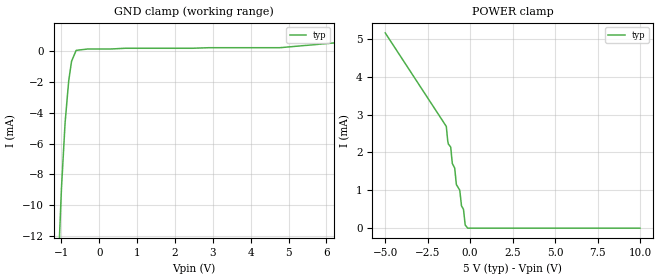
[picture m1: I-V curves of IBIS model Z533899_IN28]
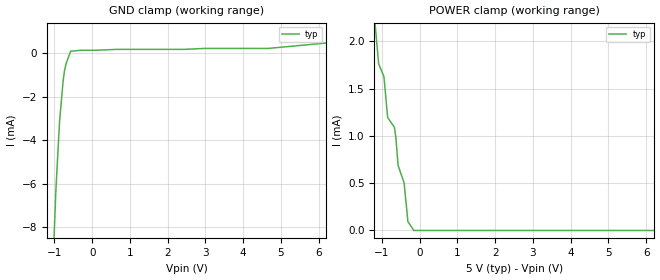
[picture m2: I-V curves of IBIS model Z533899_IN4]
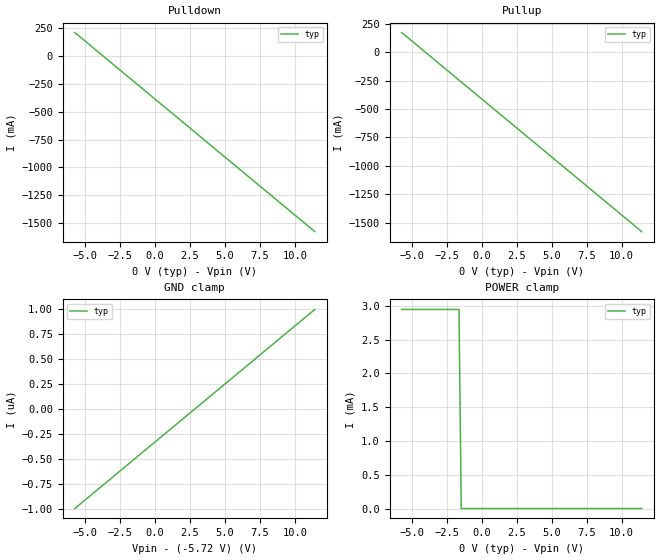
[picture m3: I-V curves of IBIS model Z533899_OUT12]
| YOU ARE ONLY AUTHORIZED TO USE THIS SOFTWARE
| ACCORDING TO LICENSOR'S LICENSE RESTRICTIONS.
[IBIS Ver] 3.1
[File Name] mc10e163fn_pecl.ibs
[File Rev] 2.0
[Source] Measured and created by ICX Technology
[Date] Friday 7/14/00 9:07:49 AM
[Copyright]
| (C) COPYRIGHT 1993-2000
| MENTOR GRAPHICS CORPORATION
| ICX STANDARD LIBRARY, ICX PROJECT MODELING,
| ICX CUSTOM MODELING, ICX VENDOR MODEL
| ALL RIGHTS RESERVED.
| THE FOLLOWING ARE TRADEMARKS OR SERVICE MARKS OF
| MENTOR GRAPHICS CORPORATION:ICX (R), ICX STANDARD
| LIBRARY(R), ICX PROJECT MODELING(R), ICX CUSTOM
| MODELING(R), qualityIBIS(TM), MODELVIEWER(TM),
| AND MODELEDITOR(TM)
| ALL COPIES OF SOFTWARE, INCLUDING BUT NOT LIMITED TO
| ANY MODIFICATIONS, ENHANCEMENTS OR DERIVATIVE WORKS,
| MUST CONTAIN ALL MENTOR GRAPHICS CORPORATION'S
| NOTICES AND LEGENDS, INCLUDING THOSE EMBEDDED IN
| SOFTWARE AND THOSE AFFIXED TO SOFTWARE MEDIUM
| AND CONTAINER, AS RECEIVED FROM MENTOR GRAPHICS
| CORPORATION.
|  ZAP Model Builder 2.7
[Component] MC10E163FN_PECL
[Manufacturer] OnSemiconductor
[Package]
| variable   typ   min   max
R_pkg  .083ohms NA NA
L_pkg  4.299nH NA NA
C_pkg  1.045pF NA NA
[Pin] signal_name  model_name  R_pin  L_pin C_pin
1 VEE GND .08 3.94n .925p
2 SEL1 Z533899_IN28 .082 4.14n .995p
3 SEL2 Z533899_IN28 .084 4.354n 1.065p
4 A0 Z533899_IN4 .086 4.583n 1.135p
5 A1 Z533899_IN4 .086 4.583n 1.135p
6 A2 Z533899_IN4 .084 4.354n 1.065p
7 A3 Z533899_IN4 .082 4.14n .995p
8 A4 Z533899_IN4 .08 3.94n .925p
9 A5 Z533899_IN4 .082 4.14n .995p
10 A6 Z533899_IN4 .084 4.354n 1.065p
11 A7 Z533899_IN4 .086 4.583n 1.135p
12 QA Z533899_OUT12 .086 4.583n 1.135p
13 _QA Z533899_OUT12 .084 4.354n 1.065p
14 VCCO POWER .082 4.14n .995p
15 NC NC .08 3.94n .925p
16 VCC POWER .082 4.14n .995p
17 QB Z533899_OUT12 .084 4.354n 1.065p
18 _QB Z533899_OUT12 .086 4.583n 1.135p
19 VCCO POWER .086 4.583n 1.135p
20 B7 Z533899_IN4 .084 4.354n 1.065p
21 B6 Z533899_IN4 .082 4.14n .995p
22 B5 Z533899_IN4 .08 3.94n .925p
23 B4 Z533899_IN4 .082 4.14n .995p
24 B3 Z533899_IN4 .084 4.354n 1.065p
25 B2 Z533899_IN4 .086 4.583n 1.135p
26 B1 Z533899_IN4 .086 4.583n 1.135p
27 B0 Z533899_IN4 .084 4.354n 1.065p
28 SEL0 Z533899_IN28 .082 4.14n .995p
| Models and submodels in the file (3): Z533899_IN28 (Input_ECL), Z533899_IN4 (Input_ECL), Z533899_OUT12 (Output_ECL)
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| (C) COPYRIGHT 1993-2000
| MENTOR GRAPHICS CORPORATION
| ICX STANDARD LIBRARY, ICX PROJECT MODELING,
| ICX CUSTOM MODELING, ICX VENDOR MODEL
| ALL RIGHTS RESERVED.
| THE FOLLOWING ARE TRADEMARKS OR SERVICE MARKS OF
| MENTOR GRAPHICS CORPORATION:ICX (R), ICX STANDARD
| LIBRARY(R), ICX PROJECT MODELING(R), ICX CUSTOM
| MODELING(R), qualityIBIS(TM), MODELVIEWER(TM),
| AND MODELEDITOR(TM)
| ALL COPIES OF SOFTWARE, INCLUDING BUT NOT LIMITED TO
| ANY MODIFICATIONS, ENHANCEMENTS OR DERIVATIVE WORKS,
| MUST CONTAIN ALL MENTOR GRAPHICS CORPORATION'S
| NOTICES AND LEGENDS, INCLUDING THOSE EMBEDDED IN
| SOFTWARE AND THOSE AFFIXED TO SOFTWARE MEDIUM
| AND CONTAINER, AS RECEIVED FROM MENTOR GRAPHICS
| CORPORATION.
| Model Application Version 1.89 2/18/99.
[Model] Z533899_IN28
Model_type Input_ECL
Vinl = 3.520V
Vinh = 3.830V
C_comp 4.000pF NA NA
| variable typ   min   max
[Voltage Range] 5.000V NA NA
[GND Clamp Reference] 0.000V NA NA
[POWER Clamp Reference] 5.000V NA NA
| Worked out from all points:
|   GND clamp passes 1 mA (typ) near -0.75 V on its own axis
|   POWER clamp passes 1 mA (typ) near -0.61 V on its own axis
[GND Clamp]
-5V       -437.4mA   NA         NA
-1.073V   -13.45mA   NA         NA
-999.6mV  -8.974mA   NA         NA
-902.3mV  -4.644mA   NA         NA
-807mV    -1.923mA   NA         NA
-732.2mV  -659.1uA   NA         NA
-610.3mV  53.97uA    NA         NA
-305.2mV  142.8uA    NA         NA
684.1mV   190.6uA    NA         NA
4.767V    226.9uA    NA         NA
10V       1.357mA    NA         NA
[POWER Clamp]
-5V       5.155mA    NA         NA
-1.402V   2.685mA    NA         NA
-1.286V   2.224mA    NA         NA
-1.144V   2.14mA     NA         NA
-1.049V   1.708mA    NA         NA
-908mV    1.585mA    NA         NA
-810mV    1.15mA     NA         NA
-611mV    1.003mA    NA         NA
-391mV    497.7uA    NA         NA
-292mV    85.48uA    NA         NA
-146mV    0A         NA         NA
10V       0A         NA         NA
| (C) COPYRIGHT 1993-2000
| MENTOR GRAPHICS CORPORATION
| ICX STANDARD LIBRARY, ICX PROJECT MODELING,
| ICX CUSTOM MODELING, ICX VENDOR MODEL
| ALL RIGHTS RESERVED.
| THE FOLLOWING ARE TRADEMARKS OR SERVICE MARKS OF
| MENTOR GRAPHICS CORPORATION:ICX (R), ICX STANDARD
| LIBRARY(R), ICX PROJECT MODELING(R), ICX CUSTOM
| MODELING(R), qualityIBIS(TM), MODELVIEWER(TM),
| AND MODELEDITOR(TM)
| ALL COPIES OF SOFTWARE, INCLUDING BUT NOT LIMITED TO
| ANY MODIFICATIONS, ENHANCEMENTS OR DERIVATIVE WORKS,
| MUST CONTAIN ALL MENTOR GRAPHICS CORPORATION'S
| NOTICES AND LEGENDS, INCLUDING THOSE EMBEDDED IN
| SOFTWARE AND THOSE AFFIXED TO SOFTWARE MEDIUM
| AND CONTAINER, AS RECEIVED FROM MENTOR GRAPHICS
| CORPORATION.
| Model Application Version 1.89 2/18/99.
[Model] Z533899_IN4
Model_type Input_ECL
Vinl = 3.520V
Vinh = 3.830V
C_comp 4.000pF NA NA
| variable typ   min   max
[Voltage Range] 5.000V NA NA
[GND Clamp Reference] 0.000V NA NA
[POWER Clamp Reference] 5.000V NA NA
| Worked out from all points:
|   GND clamp passes 1 mA (typ) near -0.75 V on its own axis
|   POWER clamp passes 1 mA (typ) near -0.64 V on its own axis
[GND Clamp]
-5V       -374.7mA   NA         NA
-1.074V   -11.34mA   NA         NA
-962.2mV  -6.305mA   NA         NA
-864.1mV  -3.126mA   NA         NA
-770.4mV  -1.272mA   NA         NA
-731.8mV  -771.7uA   NA         NA
-686.5mV  -448.5uA   NA         NA
-571.1mV  97.69uA    NA         NA
664.5mV   183.4uA    NA         NA
4.661V    227.3uA    NA         NA
10V       1.089mA    NA         NA
[POWER Clamp]
-5V       8.825mA    NA         NA
-1.184V   2.195mA    NA         NA
-1.087V   1.763mA    NA         NA
-947mV    1.627mA    NA         NA
-849mV    1.195mA    NA         NA
-669mV    1.091mA    NA         NA
-630mV    978.2uA    NA         NA
-573mV    688.4uA    NA         NA
-413mV    503.9uA    NA         NA
-312mV    93.04uA    NA         NA
-156mV    0A         NA         NA
10V       0A         NA         NA
| (C) COPYRIGHT 1993-2000
| MENTOR GRAPHICS CORPORATION
| ICX STANDARD LIBRARY, ICX PROJECT MODELING,
| ICX CUSTOM MODELING, ICX VENDOR MODEL
| ALL RIGHTS RESERVED.
| THE FOLLOWING ARE TRADEMARKS OR SERVICE MARKS OF
| MENTOR GRAPHICS CORPORATION:ICX (R), ICX STANDARD
| LIBRARY(R), ICX PROJECT MODELING(R), ICX CUSTOM
| MODELING(R), qualityIBIS(TM), MODELVIEWER(TM),
| AND MODELEDITOR(TM)
| ALL COPIES OF SOFTWARE, INCLUDING BUT NOT LIMITED TO
| ANY MODIFICATIONS, ENHANCEMENTS OR DERIVATIVE WORKS,
| MUST CONTAIN ALL MENTOR GRAPHICS CORPORATION'S
| NOTICES AND LEGENDS, INCLUDING THOSE EMBEDDED IN
| SOFTWARE AND THOSE AFFIXED TO SOFTWARE MEDIUM
| AND CONTAINER, AS RECEIVED FROM MENTOR GRAPHICS
| CORPORATION.
| Model Application Version 1.89 2/18/99.
[Model] Z533899_OUT12
Model_type Output_ECL
Vref=0.000V
Rref=500.0Mohms
Cref=50.00pF
Vmeas=3.620V
C_comp 8.000pF NA NA
| variable typ   min   max
[Voltage Range] -5.720V NA NA
[POWER Clamp Reference] 0.000V NA NA
[Pullup Reference] 0.000V NA NA
[Pulldown Reference] 0.000V NA NA
[GND Clamp Reference] -5.720V NA NA
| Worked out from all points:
|   POWER clamp passes 1 mA (typ) near -1.52 V on its own axis
[GND Clamp]
-5.72V    -1uA       NA         NA
11.44V    1uA        NA         NA
[Pulldown]
-5.72V    208.9mA    NA         NA
11.44V    -1.575A    NA         NA
[Pullup]
-5.72V    172.9mA    NA         NA
11.44V    -1.578A    NA         NA
[POWER Clamp]
-5.72V    2.949mA    NA         NA
-1.621V   2.949mA    NA         NA
-1.463V   0A         NA         NA
11.44V    0A         NA         NA
[Ramp]
| variable typ min max
dV/dt_r 184.8m/435.8p NA NA
dV/dt_f 184.8m/257.8p NA NA
R_load = 500.0Ohms
